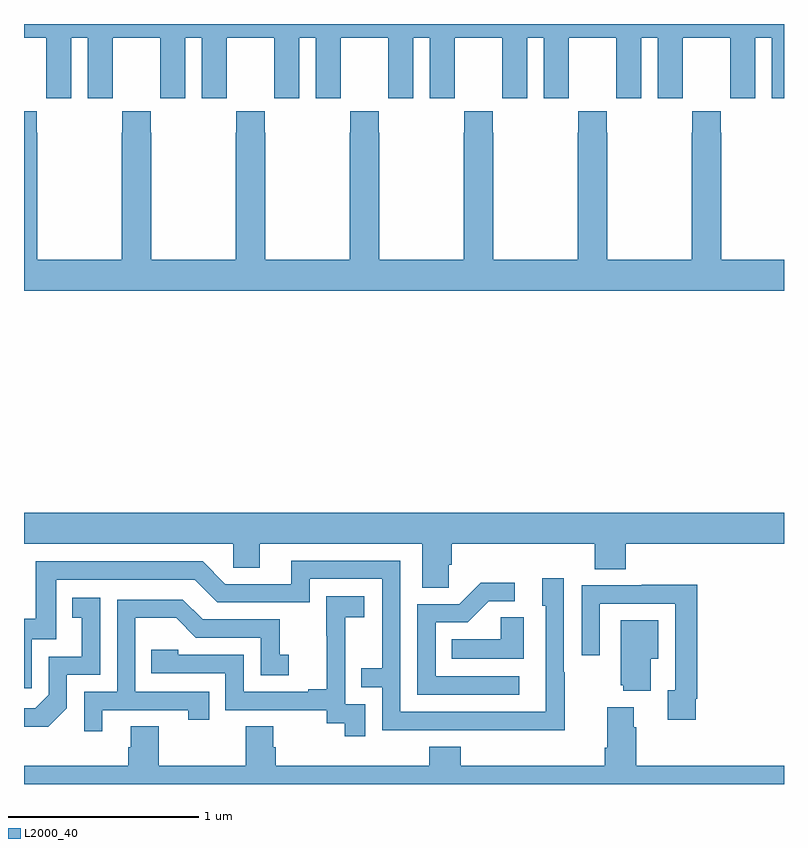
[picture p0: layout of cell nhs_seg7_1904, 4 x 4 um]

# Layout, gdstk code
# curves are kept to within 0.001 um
import gdstk
lib = gdstk.Library(unit=1e-6, precision=1e-09)
def P(c, l, *ps):  # polygons
    for p in ps: c.add(gdstk.Polygon(p, *l))
L2000_40 = (2000, 40)

nhs_seg7_1904 = lib.new_cell('nhs_seg7_1904')
P(nhs_seg7_1904, L2000_40, [(239.248,1021.928),(239.336,1021.928),(239.336,1021.608),(239.466,1021.608),(239.466,1021.72),(239.467,1021.72),(239.467,1021.928),(239.717,1021.928),(239.717,1021.72),(239.718,1021.72),(239.718,1021.608),(239.848,1021.608),(239.848,1021.928),(239.936,1021.928),(239.936,1021.608),(240.066,1021.608),(240.066,1021.72),(240.067,1021.72),(240.067,1021.928),(240.317,1021.928),(240.317,1021.72),(240.318,1021.72),(240.318,1021.608),(240.448,1021.608),(240.448,1021.928),(240.536,1021.928),(240.536,1021.608),(240.666,1021.608),(240.666,1021.72),(240.667,1021.72),(240.667,1021.928),(240.917,1021.928),(240.917,1021.72),(240.918,1021.72),(240.918,1021.608),(241.048,1021.608),(241.048,1021.928),(241.136,1021.928),(241.136,1021.608),(241.266,1021.608),(241.266,1021.72),(241.267,1021.72),(241.267,1021.928),(241.517,1021.928),(241.517,1021.72),(241.518,1021.72),(241.518,1021.608),(241.648,1021.608),(241.648,1021.928),(241.736,1021.928),(241.736,1021.608),(241.866,1021.608),(241.866,1021.72),(241.867,1021.72),(241.867,1021.928),(242.117,1021.928),(242.117,1021.72),(242.118,1021.72),(242.118,1021.608),(242.248,1021.608),(242.248,1021.928),(242.336,1021.928),(242.336,1021.608),(242.466,1021.608),(242.466,1021.72),(242.467,1021.72),(242.467,1021.928),(242.717,1021.928),(242.717,1021.72),(242.718,1021.72),(242.718,1021.608),(242.848,1021.608),(242.848,1021.928),(242.936,1021.928),(242.936,1021.608),(243,1021.608),(243,1022),(239,1022),(239,1021.928),(239.117,1021.928),(239.117,1021.72),(239.118,1021.72),(239.118,1021.608),(239.248,1021.608)],
  [(243,1020.76),(242.67,1020.76),(242.67,1021.427),(242.667,1021.427),(242.667,1021.54),(242.517,1021.54),(242.517,1021.427),(242.515,1021.427),(242.515,1020.76),(242.07,1020.76),(242.07,1021.427),(242.067,1021.427),(242.067,1021.54),(241.917,1021.54),(241.917,1021.427),(241.915,1021.427),(241.915,1020.76),(241.47,1020.76),(241.47,1021.427),(241.467,1021.427),(241.467,1021.54),(241.317,1021.54),(241.317,1021.427),(241.315,1021.427),(241.315,1020.76),(240.87,1020.76),(240.87,1021.427),(240.867,1021.427),(240.867,1021.54),(240.717,1021.54),(240.717,1021.427),(240.715,1021.427),(240.715,1020.76),(240.27,1020.76),(240.27,1021.427),(240.267,1021.427),(240.267,1021.54),(240.117,1021.54),(240.117,1021.427),(240.115,1021.427),(240.115,1020.76),(239.67,1020.76),(239.67,1021.427),(239.667,1021.427),(239.667,1021.54),(239.517,1021.54),(239.517,1021.427),(239.515,1021.427),(239.515,1020.76),(239.07,1020.76),(239.07,1021.427),(239.067,1021.427),(239.067,1021.54),(239,1021.54),(239,1020.596),(243,1020.596)],
  [(241.236,1019.155),(241.25,1019.155),(241.25,1019.264),(242.003,1019.264),(242.003,1019.131),(242.168,1019.131),(242.168,1019.264),(243,1019.264),(243,1019.428),(239,1019.428),(239,1019.264),(240.102,1019.264),(240.102,1019.137),(240.241,1019.137),(240.241,1019.264),(241.097,1019.264),(241.097,1019.032),(241.236,1019.032)],
  [(241.845,1018.589),(241.842,1018.589),(241.842,1019.083),(241.727,1019.083),(241.727,1018.938),(241.746,1018.938),(241.746,1018.38),(240.981,1018.38),(240.981,1019.175),(240.407,1019.175),(240.407,1019.052),(240.06,1019.052),(239.94,1019.172),(239.061,1019.172),(239.061,1018.87),(239,1018.87),(239,1018.503),(239.04,1018.503),(239.04,1018.761),(239.169,1018.761),(239.169,1019.076),(239.898,1019.076),(240.018,1018.956),(240.504,1018.956),(240.504,1019.079),(240.885,1019.079),(240.885,1018.61),(240.775,1018.61),(240.775,1018.509),(240.885,1018.509),(240.885,1018.284),(241.845,1018.283)],
  [(241.606,1018.566),(241.167,1018.566),(241.167,1018.851),(241.336,1018.851),(241.447,1018.962),(241.582,1018.962),(241.582,1019.06),(241.403,1019.06),(241.29,1018.947),(241.071,1018.947),(241.071,1018.47),(241.606,1018.47)],
  [(242.536,1018.45),(242.543,1018.45),(242.543,1019.048),(242.251,1019.048),(242.251,1019.046),(241.935,1019.046),(241.935,1018.677),(242.031,1018.677),(242.031,1018.95),(242.427,1018.95),(242.427,1018.494),(242.387,1018.494),(242.387,1018.338),(242.536,1018.338)],
  [(240.795,1018.419),(240.69,1018.419),(240.69,1018.649),(240.692,1018.649),(240.692,1018.877),(240.79,1018.877),(240.79,1018.987),(240.592,1018.987),(240.592,1018.781),(240.593,1018.781),(240.593,1018.498),(240.497,1018.498),(240.497,1018.485),(240.156,1018.485),(240.156,1018.68),(239.811,1018.68),(239.811,1018.707),(239.671,1018.707),(239.671,1018.584),(240.06,1018.584),(240.06,1018.389),(240.594,1018.389),(240.594,1018.321),(240.687,1018.321),(240.687,1018.251),(240.795,1018.251)],
  [(239.226,1018.398),(239.226,1018.575),(239.4,1018.575),(239.4,1018.981),(239.254,1018.981),(239.254,1018.875),(239.303,1018.875),(239.303,1018.671),(239.13,1018.671),(239.13,1018.47),(239.058,1018.398),(239,1018.398),(239,1018.301),(239.128,1018.301)],
  [(239.413,1018.389),(239.864,1018.389),(239.864,1018.338),(239.975,1018.338),(239.975,1018.485),(239.586,1018.485),(239.586,1018.874),(239.8,1018.874),(239.904,1018.77),(240.246,1018.77),(240.246,1018.572),(240.394,1018.572),(240.394,1018.681),(240.345,1018.681),(240.345,1018.866),(239.941,1018.866),(239.836,1018.971),(239.49,1018.971),(239.49,1018.485),(239.316,1018.485),(239.316,1018.278),(239.413,1018.278)],
  [(241.63,1018.877),(241.509,1018.877),(241.509,1018.762),(241.252,1018.762),(241.252,1018.658),(241.63,1018.658)],
  [(242.299,1018.658),(242.338,1018.658),(242.338,1018.861),(242.141,1018.861),(242.141,1018.521),(242.153,1018.521),(242.153,1018.49),(242.299,1018.49)],
  [(243,1018.096),(242.222,1018.096),(242.222,1018.298),(242.209,1018.298),(242.209,1018.405),(242.069,1018.405),(242.069,1018.192),(242.057,1018.192),(242.057,1018.096),(241.298,1018.096),(241.298,1018.195),(241.133,1018.195),(241.133,1018.096),(240.326,1018.096),(240.326,1018.194),(240.313,1018.194),(240.313,1018.304),(240.166,1018.304),(240.166,1018.096),(239.709,1018.096),(239.709,1018.304),(239.561,1018.304),(239.561,1018.194),(239.549,1018.194),(239.549,1018.096),(239,1018.096),(239,1018),(243,1018)])

lib.write_gds('nhs_seg7_1904.gds')
